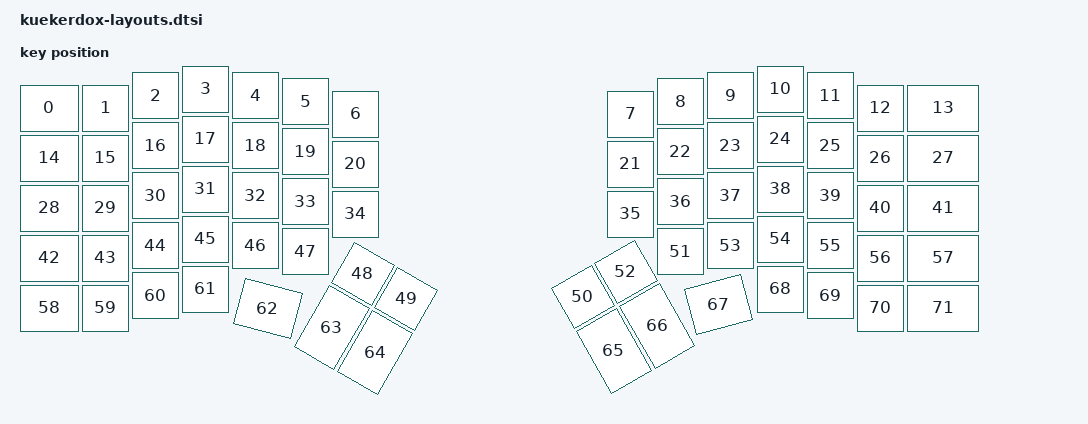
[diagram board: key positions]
#include <physical_layouts.dtsi>

&{/} {
    physical_layout0: physical_layout_0 {
        compatible = "zmk,physical-layout";
        display-name = "KuekerDox";

        kscan = <&kscan0>;
        transform = <&default_transform>;

        keys  //                     w   h    x    y     rot    rx    ry
            = <&key_physical_attrs 125 100    0   38       0     0     0>
            , <&key_physical_attrs 100 100  125   38       0     0     0>
            , <&key_physical_attrs 100 100  225   13       0     0     0>
            , <&key_physical_attrs 100 100  325    0       0     0     0>
            , <&key_physical_attrs 100 100  425   13       0     0     0>
            , <&key_physical_attrs 100 100  525   25       0     0     0>
            , <&key_physical_attrs 100 100  625   50       0     0     0>
            , <&key_physical_attrs 100 100 1175   50       0     0     0>
            , <&key_physical_attrs 100 100 1275   25       0     0     0>
            , <&key_physical_attrs 100 100 1375   13       0     0     0>
            , <&key_physical_attrs 100 100 1475    0       0     0     0>
            , <&key_physical_attrs 100 100 1575   13       0     0     0>
            , <&key_physical_attrs 100 100 1675   38       0     0     0>
            , <&key_physical_attrs 150 100 1775   38       0     0     0>
            , <&key_physical_attrs 125 100    0  138       0     0     0>
            , <&key_physical_attrs 100 100  125  138       0     0     0>
            , <&key_physical_attrs 100 100  225  113       0     0     0>
            , <&key_physical_attrs 100 100  325  100       0     0     0>
            , <&key_physical_attrs 100 100  425  113       0     0     0>
            , <&key_physical_attrs 100 100  525  125       0     0     0>
            , <&key_physical_attrs 100 100  625  150       0     0     0>
            , <&key_physical_attrs 100 100 1175  150       0     0     0>
            , <&key_physical_attrs 100 100 1275  125       0     0     0>
            , <&key_physical_attrs 100 100 1375  113       0     0     0>
            , <&key_physical_attrs 100 100 1475  100       0     0     0>
            , <&key_physical_attrs 100 100 1575  113       0     0     0>
            , <&key_physical_attrs 100 100 1675  138       0     0     0>
            , <&key_physical_attrs 150 100 1775  138       0     0     0>
            , <&key_physical_attrs 125 100    0  238       0     0     0>
            , <&key_physical_attrs 100 100  125  238       0     0     0>
            , <&key_physical_attrs 100 100  225  213       0     0     0>
            , <&key_physical_attrs 100 100  325  200       0     0     0>
            , <&key_physical_attrs 100 100  425  213       0     0     0>
            , <&key_physical_attrs 100 100  525  225       0     0     0>
            , <&key_physical_attrs 100 100  625  250       0     0     0>
            , <&key_physical_attrs 100 100 1175  250       0     0     0>
            , <&key_physical_attrs 100 100 1275  225       0     0     0>
            , <&key_physical_attrs 100 100 1375  213       0     0     0>
            , <&key_physical_attrs 100 100 1475  200       0     0     0>
            , <&key_physical_attrs 100 100 1575  213       0     0     0>
            , <&key_physical_attrs 100 100 1675  238       0     0     0>
            , <&key_physical_attrs 150 100 1775  238       0     0     0>
            , <&key_physical_attrs 125 100    0  338       0     0     0>
            , <&key_physical_attrs 100 100  125  338       0     0     0>
            , <&key_physical_attrs 100 100  225  313       0     0     0>
            , <&key_physical_attrs 100 100  325  300       0     0     0>
            , <&key_physical_attrs 100 100  425  313       0     0     0>
            , <&key_physical_attrs 100 100  525  325       0     0     0>
            , <&key_physical_attrs 100 100  625  325    3000   600   425>
            , <&key_physical_attrs 100 100  725  325    3000   600   425>
            , <&key_physical_attrs 100 100 1075  350 (-3000)  1250   425>
            , <&key_physical_attrs 100 100 1275  325       0     0     0>
            , <&key_physical_attrs 100 100 1175  350 (-3000)  1250   425>
            , <&key_physical_attrs 100 100 1375  313       0     0     0>
            , <&key_physical_attrs 100 100 1475  300       0     0     0>
            , <&key_physical_attrs 100 100 1575  313       0     0     0>
            , <&key_physical_attrs 100 100 1675  338       0     0     0>
            , <&key_physical_attrs 150 100 1775  338       0     0     0>
            , <&key_physical_attrs 125 100    0  438       0     0     0>
            , <&key_physical_attrs 100 100  125  438       0     0     0>
            , <&key_physical_attrs 100 100  225  413       0     0     0>
            , <&key_physical_attrs 100 100  325  400       0     0     0>
            , <&key_physical_attrs 125 100  545  280    1500 (-50)     0>
            , <&key_physical_attrs 100 150  625  425    3000   600   425>
            , <&key_physical_attrs 100 150  725  425    3000   600   425>
            , <&key_physical_attrs 100 150 1075  450 (-3000)  1250   425>
            , <&key_physical_attrs 100 150 1175  450 (-3000)  1250   425>
            , <&key_physical_attrs 125 100 1165  790 (-1500) (-50)     0>
            , <&key_physical_attrs 100 100 1475  400       0     0     0>
            , <&key_physical_attrs 100 100 1575  413       0     0     0>
            , <&key_physical_attrs 100 100 1675  438       0     0     0>
            , <&key_physical_attrs 150 100 1775  438       0     0     0>
            ;
    };
};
